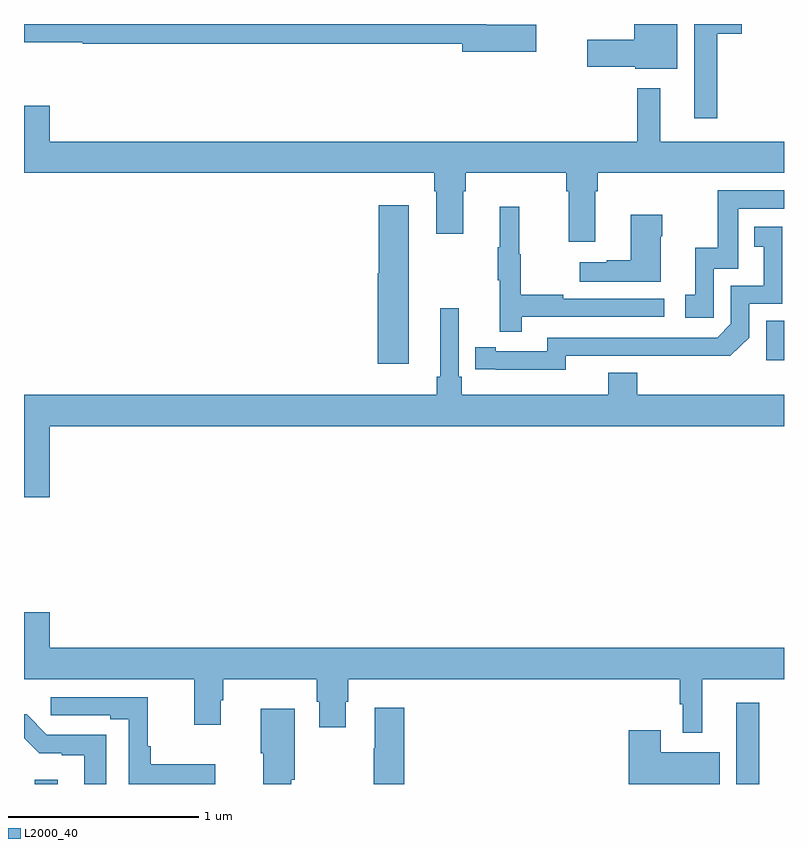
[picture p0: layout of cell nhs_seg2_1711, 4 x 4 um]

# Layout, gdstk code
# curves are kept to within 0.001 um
import gdstk
lib = gdstk.Library(unit=1e-6, precision=1e-09)
def R(c, l, rs):  # rectangles x0, y0, x1, y1
    for r in rs: c.add(gdstk.rectangle(r[:2], r[2:], *l))
def P(c, l, *ps):  # polygons
    for p in ps: c.add(gdstk.Polygon(p, *l))
L2000_40 = (2000, 40)

nhs_seg2_1711 = lib.new_cell('nhs_seg2_1711')
R(nhs_seg2_1711, L2000_40, [(201.057,597.8,201.178,597.823), (204.749,597.8,204.871,598.228), (204.906,600.03,205,600.237)])
P(nhs_seg2_1711, L2000_40, [(204.649,601.748),(204.778,601.748),(204.778,601.8),(204.527,601.8),(204.527,601.305),(204.649,601.305)],
  [(203.695,601.796),(203.434,601.796),(203.434,601.8),(201,601.8),(201,601.704),(201.31,601.704),(201.31,601.696),(203.306,601.696),(203.306,601.654),(203.695,601.654)],
  [(204.439,601.8),(204.212,601.8),(204.212,601.718),(203.964,601.718),(203.964,601.576),(204.216,601.576),(204.216,601.565),(204.439,601.565)],
  [(204.007,600.92),(204.02,600.92),(204.02,601.016),(205,601.016),(205,601.18),(204.349,601.18),(204.349,601.462),(204.228,601.462),(204.228,601.18),(201.136,601.18),(201.136,601.369),(201,601.369),(201,601.016),(203.159,601.016),(203.159,600.92),(203.171,600.92),(203.171,600.696),(203.311,600.696),(203.311,600.92),(203.324,600.92),(203.324,601.016),(203.855,601.016),(203.855,600.92),(203.867,600.92),(203.867,600.654),(204.007,600.654)],
  [(204.63,600.513),(204.759,600.513),(204.759,600.828),(205,600.828),(205,600.924),(204.651,600.924),(204.651,600.622),(204.533,600.622),(204.533,600.375),(204.48,600.375),(204.48,600.255),(204.63,600.255)],
  [(203.026,600.847),(202.868,600.847),(202.868,600.489),(202.862,600.489),(202.862,600.012),(203.026,600.012)],
  [(203.621,600.258),(204.37,600.258),(204.37,600.354),(203.837,600.354),(203.837,600.374),(203.614,600.374),(203.614,600.588),(203.606,600.588),(203.606,600.838),(203.504,600.838),(203.504,600.625),(203.493,600.625),(203.493,600.451),(203.504,600.451),(203.504,600.18),(203.621,600.18)],
  [(204.352,600.683),(204.36,600.683),(204.36,600.796),(204.194,600.796),(204.194,600.557),(204.068,600.557),(204.068,600.547),(203.925,600.547),(203.925,600.443),(204.352,600.443)],
  [(203.85,600.054),(204.718,600.053),(204.816,600.15),(204.816,600.327),(204.99,600.327),(204.99,600.733),(204.844,600.733),(204.844,600.627),(204.893,600.627),(204.893,600.423),(204.72,600.423),(204.72,600.222),(204.648,600.15),(203.754,600.15),(203.754,600.078),(203.482,600.078),(203.482,600.098),(203.374,600.098),(203.374,599.982),(203.85,599.981)],
  [(201.136,599.684),(205,599.684),(205,599.848),(204.227,599.848),(204.227,599.965),(204.074,599.965),(204.074,599.848),(203.303,599.848),(203.303,599.944),(203.289,599.944),(203.289,600.304),(203.192,600.304),(203.192,599.944),(203.173,599.944),(203.173,599.848),(201,599.848),(201,599.31),(201.136,599.31)],
  [(204.571,598.352),(205,598.352),(205,598.516),(201.136,598.516),(201.136,598.705),(201,598.705),(201,598.352),(201.896,598.352),(201.896,598.113),(202.036,598.113),(202.036,598.241),(202.049,598.241),(202.049,598.352),(202.541,598.352),(202.541,598.233),(202.553,598.233),(202.553,598.098),(202.693,598.098),(202.693,598.233),(202.706,598.233),(202.706,598.352),(204.45,598.352),(204.45,598.22),(204.467,598.22),(204.467,598.071),(204.571,598.071)],
  [(202.006,597.904),(201.668,597.904),(201.668,598),(201.651,598),(201.651,598.257),(201.141,598.257),(201.141,598.161),(201.455,598.161),(201.455,598.141),(201.552,598.141),(201.552,597.8),(202.006,597.8)],
  [(203,598.201),(202.847,598.201),(202.847,597.988),(202.84,597.988),(202.84,597.8),(203,597.8)],
  [(202.407,597.822),(202.425,597.822),(202.425,598.195),(202.247,598.195),(202.247,597.962),(202.259,597.962),(202.259,597.8),(202.407,597.8)],
  [(201.433,598.059),(201.12,598.059),(201.014,598.166),(201,598.166),(201,598.041),(201.079,597.962),(201.198,597.962),(201.198,597.951),(201.317,597.951),(201.317,597.8),(201.433,597.8)],
  [(204.661,597.967),(204.352,597.967),(204.352,598.084),(204.182,598.084),(204.182,597.8),(204.661,597.8)])

lib.write_gds('nhs_seg2_1711.gds')
